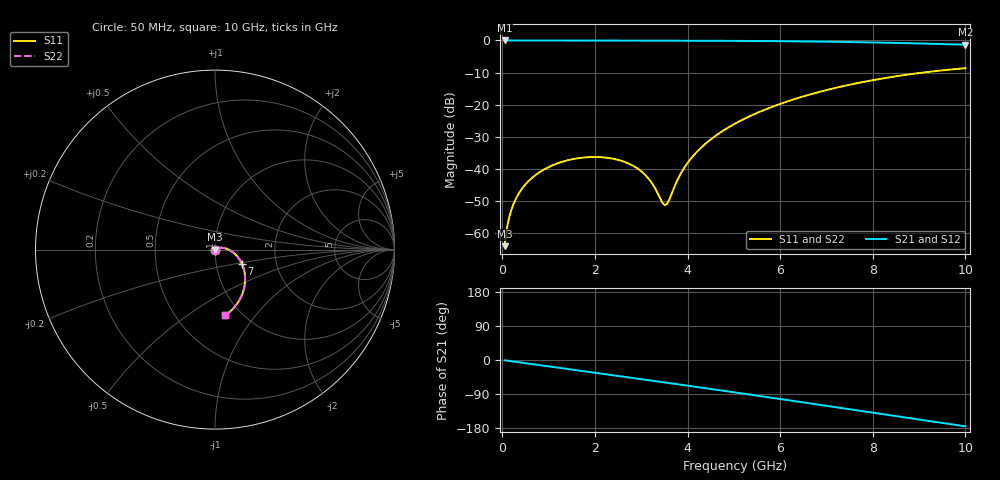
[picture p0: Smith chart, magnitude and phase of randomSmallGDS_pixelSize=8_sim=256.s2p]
! freq	dB(S11)	phase(S11)	dB(S12)	phase(S12)
!  dB(S21)	phase(S21)	dB(S22)	phase(S22)
!S-par simulation data
#  GHz  S  DB  R 50
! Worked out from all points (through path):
!   200 points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, 50 MHz to 10 GHz, reference 50 ohm
!   highest |S21| = 0.00 dB at 50 MHz (marker M1); lowest = -1.3 dB at 10 GHz (marker M2)
!   group delay of S21, straight-line fit = 48.8 ps
!   lowest |S11| = -64.1 dB at 50 MHz (marker M3), VSWR 1.00, Z = 50 - j0.0619 ohm
!   |S11| at or under -10 dB: start of sweep to 9.09 GHz
!   |S22| runs from -64.1 to -8.6 dB; largest |S21 - S12| = 0
!   S11 on the Smith chart (normalised r, x): 50 MHz: 1.00, -0.00; 7 GHz: 1.33, -0.21; 10 GHz: 0.85, -0.72
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0.05  -64.14 -95.2  -0.00 -0.8  -0.00 -0.8  -64.13 -95.1
0.1  -58.50 -94.7  -0.00 -1.7  -0.00 -1.7  -58.50 -94.7
0.2  -52.63 -95.3  -0.00 -3.4  -0.00 -3.4  -52.63 -95.3
0.35  -47.86 -97.4  -0.00 -5.9  -0.00 -5.9  -47.86 -97.4
0.5  -44.88 -100.0  -0.01 -8.5  -0.01 -8.5  -44.88 -100.0
1.05  -39.14 -110.0  -0.02 -17.7  -0.02 -17.7  -39.14 -110.0
1.75  -36.51 -123.2  -0.03 -29.4  -0.03 -29.4  -36.51 -123.2
2.3  -36.65 -134.5  -0.04 -38.7  -0.04 -38.7  -36.65 -134.5
2.8  -38.88 -147.0  -0.05 -47.2  -0.05 -47.2  -38.88 -147.0
3.15  -42.93 -161.8  -0.06 -53.1  -0.06 -53.1  -42.93 -161.8
3.4  -48.98 166.4  -0.06 -57.4  -0.06 -57.4  -48.99 166.4
3.5  -51.31 131.1  -0.07 -59.1  -0.07 -59.1  -51.33 131.2
3.55  -51.11 108.5  -0.07 -60.0  -0.07 -60.0  -51.13 108.4
3.85  -41.60 46.4  -0.08 -65.1  -0.08 -65.1  -41.61 46.4
4.1  -36.36 33.4  -0.09 -69.4  -0.09 -69.4  -36.36 33.4
4.5  -30.86 21.6  -0.10 -76.4  -0.10 -76.4  -30.86 21.5
5.05  -25.75 9.4  -0.14 -86.0  -0.14 -86.0  -25.75 9.4
5.8  -20.84 -5.2  -0.20 -99.3  -0.20 -99.3  -20.84 -5.2
6.7  -16.61 -22.0  -0.33 -115.5  -0.33 -115.5  -16.61 -22.0
7  -15.47 -27.6  -0.38 -121.0  -0.38 -121.0  -15.47 -27.6
8.35  -11.52 -52.1  -0.72 -145.5  -0.72 -145.5  -11.52 -52.1
10  -8.64 -80.9  -1.31 -175.1  -1.31 -175.1  -8.64 -80.9
